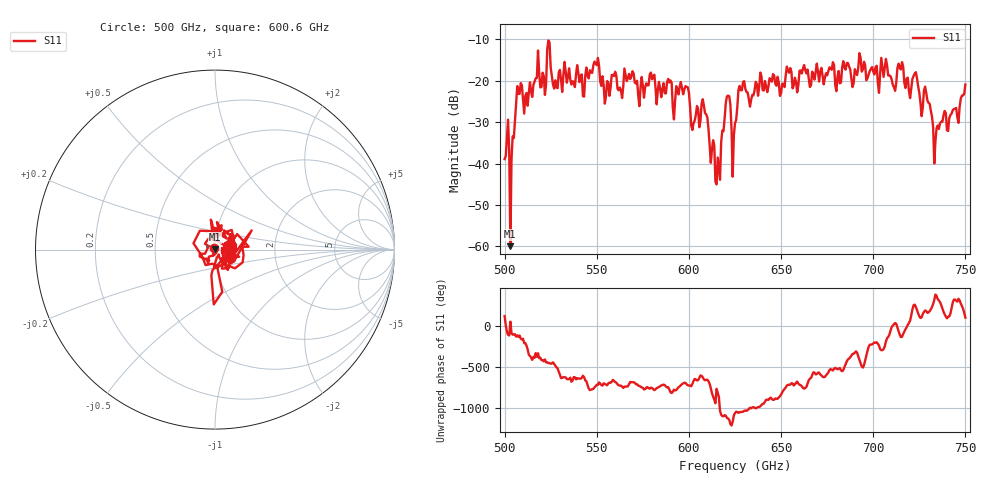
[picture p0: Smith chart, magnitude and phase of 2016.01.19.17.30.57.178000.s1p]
!Created with skrf (http://scikit-rf.org).
# GHz S RI R 50.0
!freq ReS11 ImS11
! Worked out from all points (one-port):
!   401 points, 500 GHz to 750 GHz, reference 50 ohm
!   lowest |S11| = -59.9 dB at 503.1 GHz (marker M1), VSWR 1.00, Z = 50.1 + j0.0775 ohm
!   |S11| at or under -10 dB: start of sweep to end of sweep
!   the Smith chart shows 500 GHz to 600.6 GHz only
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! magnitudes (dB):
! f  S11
! 500 GHz  -38.9
! 503.1 GHz  -59.9
! 508.1 GHz  -23.2
! 521.2 GHz  -18.9
! 524.4 GHz  -10.8
! 527.5 GHz  -19.9
! 531.2 GHz  -22.7
! 541.9 GHz  -18.5
! 550 GHz  -16.3
! 553.8 GHz  -21.2
! 562.5 GHz  -21.7
! 568.8 GHz  -19.0
! 593.8 GHz  -22.2
! 598.8 GHz  -21.5
! 602.5 GHz  -30.3
! 608.1 GHz  -26.1
! 615.6 GHz  -38.6
! 620.6 GHz  -23.8
! 625 GHz  -30.3
! 628.8 GHz  -22.3
! 656.2 GHz  -21.9
! 687.5 GHz  -17.3
! 711.2 GHz  -21.6
! 715 GHz  -17.3
! 718.8 GHz  -19.3
! 728.8 GHz  -22.9
! 734.4 GHz  -31.5
! 750 GHz  -20.9
